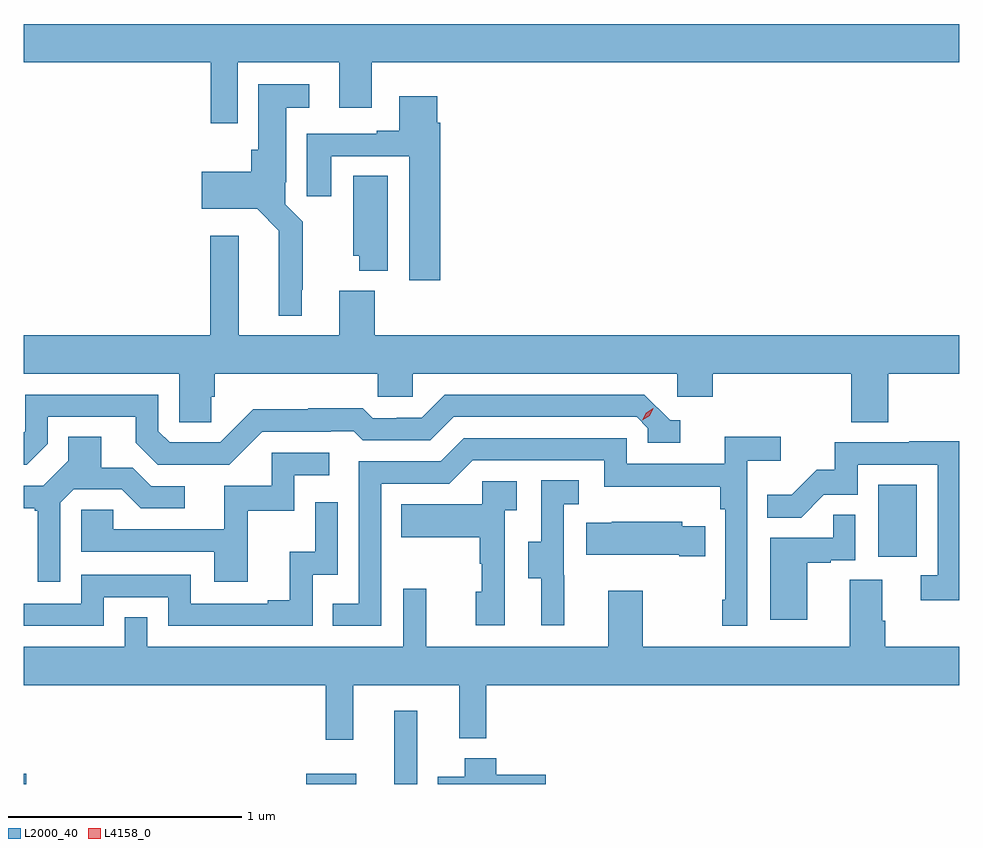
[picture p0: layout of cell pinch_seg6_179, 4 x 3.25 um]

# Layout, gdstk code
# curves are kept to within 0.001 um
import gdstk
lib = gdstk.Library(unit=1e-6, precision=1e-09)
def R(c, l, rs):  # rectangles x0, y0, x1, y1
    for r in rs: c.add(gdstk.rectangle(r[:2], r[2:], *l))
def P(c, l, *ps):  # polygons
    for p in ps: c.add(gdstk.Polygon(p, *l))
L2000_40 = (2000, 40)
L4158_0 = (4158, 0)

pinch_seg6_179 = lib.new_cell('pinch_seg6_179')
R(pinch_seg6_179, L2000_40, [(1059.919,930.929,1059.928,930.973), (1061.126,930.929,1061.341,930.973), (1061.504,930.929,1061.601,931.243), (1063.574,931.902,1063.738,932.209)])
P(pinch_seg6_179, L2000_40, [(1060.833,934.016),(1061.267,934.016),(1061.267,933.822),(1061.407,933.822),(1061.407,934.016),(1063.919,934.016),(1063.919,934.18),(1059.919,934.18),(1059.919,934.016),(1060.717,934.016),(1060.717,933.756),(1060.833,933.756)],
  [(1061.107,933.043),(1061.111,933.043),(1061.111,933.334),(1061.037,933.408),(1061.037,933.502),(1061.041,933.502),(1061.041,933.821),(1061.14,933.821),(1061.14,933.922),(1060.922,933.922),(1060.922,933.642),(1060.892,933.642),(1060.892,933.547),(1060.68,933.547),(1060.68,933.389),(1060.917,933.389),(1061.01,933.296),(1061.009,932.933),(1061.107,932.933)],
  [(1061.699,933.758),(1061.686,933.758),(1061.686,933.871),(1061.525,933.871),(1061.525,933.724),(1061.429,933.724),(1061.429,933.711),(1061.129,933.711),(1061.129,933.444),(1061.233,933.444),(1061.233,933.615),(1061.567,933.615),(1061.567,933.084),(1061.699,933.084)],
  [(1061.476,933.53),(1061.327,933.53),(1061.327,933.189),(1061.354,933.189),(1061.354,933.125),(1061.476,933.125)],
  [(1060.721,932.586),(1060.736,932.586),(1060.736,932.684),(1061.433,932.684),(1061.433,932.586),(1061.583,932.586),(1061.583,932.684),(1062.714,932.684),(1062.714,932.586),(1062.866,932.586),(1062.866,932.684),(1063.457,932.684),(1063.457,932.476),(1063.617,932.476),(1063.617,932.684),(1063.919,932.684),(1063.919,932.848),(1061.42,932.848),(1061.42,933.04),(1061.267,933.04),(1061.267,932.848),(1060.837,932.848),(1060.837,933.274),(1060.715,933.274),(1060.715,932.848),(1059.919,932.848),(1059.919,932.684),(1060.584,932.684),(1060.584,932.476),(1060.721,932.476)],
  [(1060.02,932.385),(1060.02,932.499),(1060.397,932.499),(1060.397,932.389),(1060.491,932.295),(1060.797,932.295),(1060.938,932.436),(1061.231,932.436),(1061.231,932.439),(1061.33,932.439),(1061.369,932.4),(1061.658,932.4),(1061.757,932.499),(1062.54,932.499),(1062.588,932.451),(1062.588,932.388),(1062.727,932.388),(1062.727,932.484),(1062.684,932.484),(1062.573,932.595),(1061.72,932.595),(1061.621,932.496),(1061.514,932.496),(1061.514,932.493),(1061.411,932.493),(1061.369,932.536),(1061.136,932.536),(1061.136,932.533),(1060.9,932.533),(1060.758,932.391),(1060.542,932.391),(1060.494,932.439),(1060.494,932.595),(1059.924,932.595),(1059.924,932.439),(1059.919,932.434),(1059.919,932.295),(1059.93,932.295)],
  [(1060.074,932.133),(1060.131,932.19),(1060.337,932.19),(1060.418,932.109),(1060.606,932.109),(1060.606,932.202),(1060.464,932.202),(1060.384,932.282),(1060.249,932.282),(1060.249,932.414),(1060.109,932.414),(1060.109,932.312),(1060.002,932.205),(1059.919,932.205),(1059.919,932.108),(1059.966,932.108),(1059.966,932.097),(1059.977,932.097),(1059.977,931.794),(1060.074,931.794)],
  [(1061.448,932.214),(1061.739,932.214),(1061.838,932.313),(1062.402,932.313),(1062.402,932.201),(1062.898,932.201),(1062.898,932.105),(1062.918,932.105),(1062.918,931.717),(1062.906,931.717),(1062.906,931.605),(1063.014,931.605),(1063.014,932.312),(1063.156,932.312),(1063.156,932.414),(1062.917,932.414),(1062.917,932.298),(1062.498,932.298),(1062.498,932.409),(1061.801,932.409),(1061.702,932.31),(1061.352,932.31),(1061.352,931.701),(1061.239,931.701),(1061.239,931.605),(1061.448,931.605)],
  [(1063.919,932.396),(1063.705,932.396),(1063.705,932.391),(1063.387,932.391),(1063.387,932.274),(1063.31,932.274),(1063.203,932.167),(1063.099,932.167),(1063.099,932.068),(1063.243,932.068),(1063.341,932.166),(1063.485,932.166),(1063.485,932.295),(1063.827,932.295),(1063.827,931.821),(1063.755,931.821),(1063.755,931.716),(1063.919,931.716)],
  [(1060.877,932.097),(1061.076,932.097),(1061.076,932.25),(1061.224,932.25),(1061.224,932.346),(1060.98,932.346),(1060.98,932.205),(1060.775,932.205),(1060.775,932.019),(1060.301,932.019),(1060.301,932.103),(1060.164,932.103),(1060.164,931.923),(1060.733,931.923),(1060.733,931.794),(1060.877,931.794)],
  [(1062.23,931.821),(1062.228,931.821),(1062.228,932.125),(1062.292,932.125),(1062.292,932.228),(1062.132,932.228),(1062.132,931.965),(1062.077,931.965),(1062.077,931.81),(1062.131,931.81),(1062.131,931.608),(1062.23,931.608)],
  [(1061.976,932.099),(1062.028,932.099),(1062.028,932.223),(1061.88,932.223),(1061.88,932.125),(1061.533,932.125),(1061.533,931.985),(1061.868,931.985),(1061.868,931.871),(1061.878,931.871),(1061.878,931.752),(1061.852,931.752),(1061.852,931.608),(1061.976,931.608)],
  [(1060.26,931.728),(1060.536,931.728),(1060.536,931.605),(1061.154,931.605),(1061.154,931.824),(1061.262,931.824),(1061.262,932.134),(1061.166,932.134),(1061.166,931.922),(1061.057,931.922),(1061.057,931.714),(1060.961,931.714),(1060.961,931.701),(1060.632,931.701),(1060.632,931.824),(1060.164,931.824),(1060.164,931.701),(1059.919,931.701),(1059.919,931.605),(1060.26,931.605)],
  [(1063.27,931.875),(1063.37,931.875),(1063.37,931.887),(1063.476,931.887),(1063.476,932.081),(1063.381,932.081),(1063.381,931.983),(1063.112,931.983),(1063.112,931.632),(1063.27,931.632)],
  [(1062.833,932.032),(1062.735,932.032),(1062.735,932.05),(1062.433,932.05),(1062.433,932.047),(1062.325,932.047),(1062.325,931.91),(1062.722,931.91),(1062.722,931.903),(1062.833,931.903)],
  [(1061.327,931.352),(1061.78,931.352),(1061.78,931.124),(1061.897,931.124),(1061.897,931.352),(1063.919,931.352),(1063.919,931.516),(1063.604,931.516),(1063.604,931.628),(1063.591,931.628),(1063.591,931.802),(1063.451,931.802),(1063.451,931.516),(1062.567,931.516),(1062.567,931.756),(1062.419,931.756),(1062.419,931.516),(1061.639,931.516),(1061.639,931.765),(1061.541,931.765),(1061.541,931.516),(1060.446,931.516),(1060.446,931.643),(1060.35,931.643),(1060.35,931.516),(1059.919,931.516),(1059.919,931.352),(1061.209,931.352),(1061.209,931.119),(1061.327,931.119)],
  [(1062.151,930.969),(1061.939,930.969),(1061.939,931.039),(1061.804,931.039),(1061.804,930.961),(1061.69,930.961),(1061.69,930.929),(1062.151,930.929)])
P(pinch_seg6_179, L4158_0, [(1062.564,932.485),(1062.564,932.485),(1062.58,932.518),(1062.611,932.537),(1062.611,932.537),(1062.611,932.537),(1062.595,932.504),(1062.564,932.485)])

lib.write_gds('pinch_seg6_179.gds')
